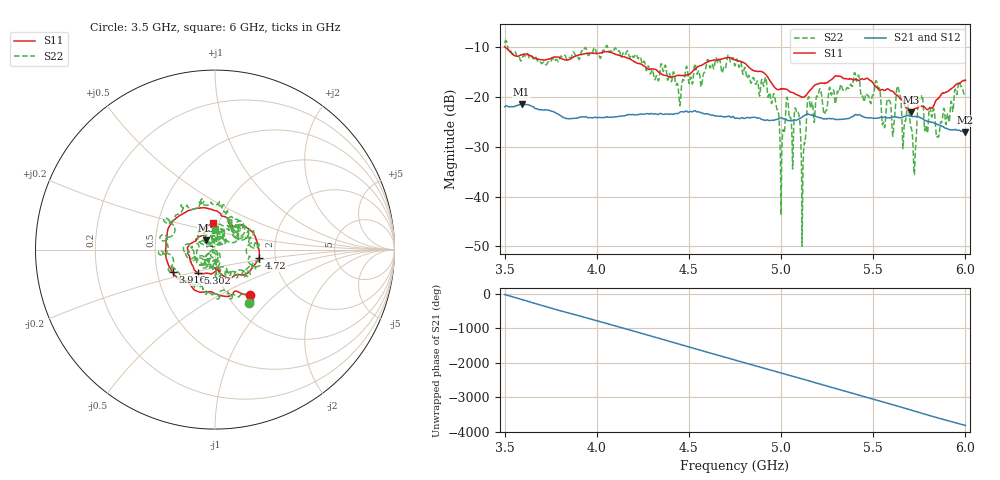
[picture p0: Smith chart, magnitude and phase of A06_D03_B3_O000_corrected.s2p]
! Created with skrf 1.9.0 (http://scikit-rf.org).
# Hz S RI R 50.0
!freq ReS11 ImS11 ReS21 ImS21 ReS12 ImS12 ReS22 ImS22
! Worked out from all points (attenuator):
!   1601 points, 3.5 GHz to 6 GHz, reference 50 ohm
!   highest |S21| = -21.47 dB at 3.592 GHz (marker M1); lowest = -27.1 dB at 5.998 GHz (marker M2)
!   lowest |S11| = -23.0 dB at 5.706 GHz (marker M3), VSWR 1.15, Z = 45.2 + j4.66 ohm
!   |S11| at or under -10 dB: 3.505 GHz to end of sweep
!   |S22| runs from -50.0 to -8.6 dB; largest |S21 - S12| = 0.00094
!   S11 on the Smith chart (normalised r, x): 3.5 GHz: 1.26, -0.71; 3.916 GHz: 0.60, -0.16; 4.72 GHz: 1.64, -0.16; 5.302 GHz: 0.80, -0.22; 6 GHz: 0.94, +0.28
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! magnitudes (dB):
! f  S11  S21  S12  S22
! 3.5 GHz  -9.9  -21.9  -21.9  -9.1
! 3.592 GHz  -11.5  -21.5  -21.5  -12.6
! 3.916 GHz  -11.5  -24.0  -24.0  -11.0
! 3.917 GHz  -11.5  -24.0  -24.0  -10.8
! 4.334 GHz  -14.9  -23.5  -23.4  -16.7
! 4.72 GHz  -12.1  -23.9  -23.9  -12.2
! 4.75 GHz  -12.5  -24.3  -24.2  -13.7
! 4.966 GHz  -18.1  -24.6  -24.6  -19.9
! 5.005 GHz  -18.3  -24.2  -24.2  -30.3
! 5.033 GHz  -18.5  -24.7  -24.6  -20.0
! 5.088 GHz  -19.6  -24.6  -24.6  -23.0
! 5.119 GHz  -20.0  -23.9  -23.8  -34.4
! 5.145 GHz  -19.2  -23.4  -23.4  -20.3
! 5.167 GHz  -18.3  -23.6  -23.6  -21.1
! 5.302 GHz  -15.8  -24.5  -24.5  -19.6
! 5.584 GHz  -18.4  -24.2  -24.1  -20.6
! 5.706 GHz  -23.0  -23.9  -23.8  -26.3
! 5.725 GHz  -22.3  -23.9  -23.9  -34.1
! 5.756 GHz  -21.8  -24.2  -24.1  -20.4
! 5.85 GHz  -20.4  -25.6  -25.5  -27.9
! 5.998 GHz  -16.7  -27.1  -27.0  -19.2
! 6 GHz  -16.6  -27.1  -27.0  -19.1
